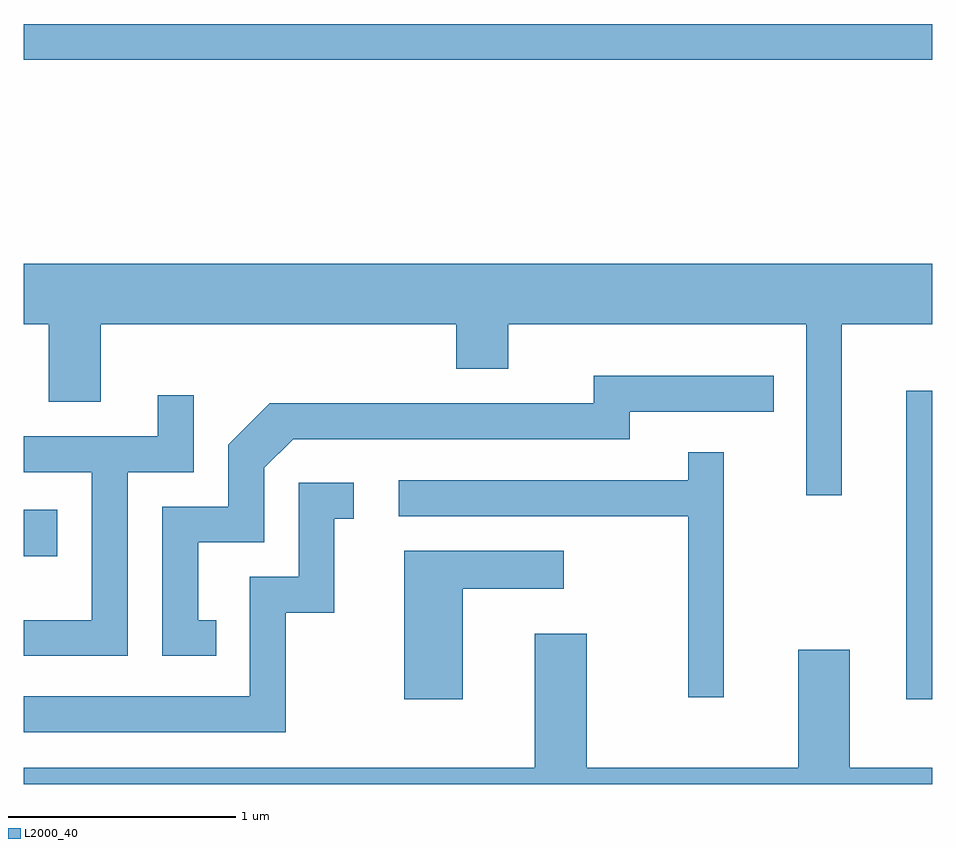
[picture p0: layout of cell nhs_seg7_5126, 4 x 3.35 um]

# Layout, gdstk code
import gdstk
lib = gdstk.Library(unit=1e-6, precision=1e-09)
def R(c, l, rs):  # rectangles x0, y0, x1, y1
    for r in rs: c.add(gdstk.rectangle(r[:2], r[2:], *l))
def P(c, l, *ps):  # polygons
    for p in ps: c.add(gdstk.Polygon(p, *l))
L2000_40 = (2000, 40)

nhs_seg7_5126 = lib.new_cell('nhs_seg7_5126')
R(nhs_seg7_5126, L2000_40, [(345.496,1752.626,345.611,1753.984), (341.611,1753.256,341.759,1753.459), (341.611,1755.441,345.611,1755.599)])
P(nhs_seg7_5126, L2000_40, [(345.214,1754.276),(345.611,1754.276),(345.611,1754.544),(341.611,1754.544),(341.611,1754.276),(341.721,1754.276),(341.721,1753.936),(341.949,1753.936),(341.949,1754.276),(343.516,1754.276),(343.516,1754.081),(343.744,1754.081),(343.744,1754.276),(345.056,1754.276),(345.056,1753.523),(345.214,1753.523)],
  [(342.458,1752.974),(342.379,1752.974),(342.379,1753.316),(342.669,1753.316),(342.669,1753.644),(342.797,1753.771),(344.279,1753.771),(344.279,1753.891),(344.913,1753.891),(344.913,1754.049),(344.121,1754.049),(344.121,1753.929),(342.694,1753.929),(342.511,1753.747),(342.511,1753.474),(342.221,1753.474),(342.221,1752.816),(342.458,1752.816)],
  [(342.069,1753.626),(342.359,1753.626),(342.359,1753.963),(342.201,1753.963),(342.201,1753.784),(341.611,1753.784),(341.611,1753.626),(341.911,1753.626),(341.911,1752.974),(341.611,1752.974),(341.611,1752.816),(342.069,1752.816)],
  [(344.694,1753.713),(344.536,1753.713),(344.536,1753.589),(343.263,1753.589),(343.263,1753.431),(344.536,1753.431),(344.536,1752.633),(344.694,1752.633)],
  [(342.764,1753.006),(342.979,1753.006),(342.979,1753.421),(343.063,1753.421),(343.063,1753.579),(342.821,1753.579),(342.821,1753.164),(342.606,1753.164),(342.606,1752.639),(341.611,1752.639),(341.611,1752.481),(342.764,1752.481)],
  [(343.544,1753.111),(343.988,1753.111),(343.988,1753.279),(343.286,1753.279),(343.286,1752.626),(343.544,1752.626)],
  [(345.611,1752.324),(345.249,1752.324),(345.249,1752.844),(345.021,1752.844),(345.021,1752.324),(344.089,1752.324),(344.089,1752.914),(343.861,1752.914),(343.861,1752.324),(341.611,1752.324),(341.611,1752.252),(345.611,1752.252)])

lib.write_gds('nhs_seg7_5126.gds')
